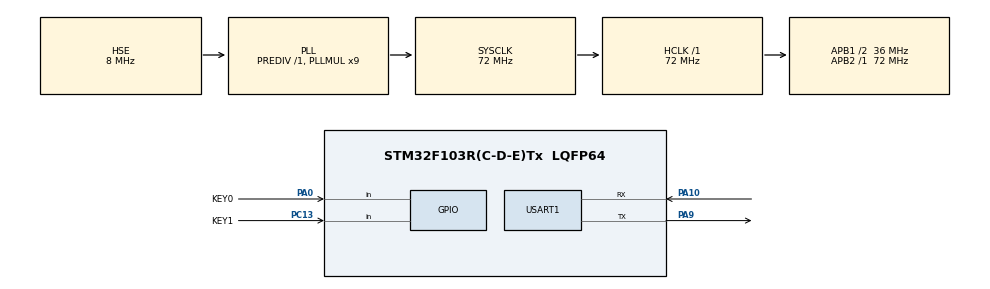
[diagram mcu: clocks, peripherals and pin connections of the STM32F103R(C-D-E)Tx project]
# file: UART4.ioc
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Mcu.Family=STM32F1
Mcu.Name=STM32F103R(C-D-E)Tx
Mcu.Package=LQFP64
NVIC.PriorityGroup=NVIC_PRIORITYGROUP_4
PA0-WKUP.GPIO_Label=KEY0
PA0-WKUP.Signal=GPIO_Input
PA10.Mode=Asynchronous
PA10.Signal=USART1_RX
PA13.Mode=Serial_Wire
PA13.Signal=SYS_JTMS-SWDIO
PA14.Mode=Serial_Wire
PA14.Signal=SYS_JTCK-SWCLK
PA9.Mode=Asynchronous
PA9.Signal=USART1_TX
PC13-TAMPER-RTC.GPIO_Label=KEY1
PC13-TAMPER-RTC.Signal=GPIO_Input
PD0-OSC_IN.Mode=HSE-External-Oscillator
PD0-OSC_IN.Signal=RCC_OSC_IN
PD1-OSC_OUT.Mode=HSE-External-Oscillator
PD1-OSC_OUT.Signal=RCC_OSC_OUT
ProjectManager.HeapSize=0x200
ProjectManager.StackSize=0x400
ProjectManager.TargetToolchain=MDK-ARM V5.32
RCC.AHBFreq_Value=72000000
RCC.APB1CLKDivider=RCC_HCLK_DIV2
RCC.APB1Freq_Value=36000000
RCC.APB1TimFreq_Value=72000000
RCC.APB2Freq_Value=72000000
RCC.APB2TimFreq_Value=72000000
RCC.HCLKFreq_Value=72000000
RCC.PLLMUL=RCC_PLL_MUL9
RCC.PLLSourceVirtual=RCC_PLLSOURCE_HSE
RCC.SYSCLKFreq_VALUE=72000000
RCC.SYSCLKSource=RCC_SYSCLKSOURCE_PLLCLK
RCC.USBFreq_Value=72000000
USART1.VirtualMode=VM_ASYNC
board=custom

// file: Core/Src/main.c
/* USER CODE BEGIN Header */
/**
  ******************************************************************************
  * @file           : main.c
  * @brief          : Main program body
  ******************************************************************************
  * @attention
  *
  * Copyright (c) 2025 STMicroelectronics.
  * All rights reserved.
  *
  * This software is licensed under terms that can be found in the LICENSE file
  * in the root directory of this software component.
  * If no LICENSE file comes with this software, it is provided AS-IS.
  *
  ******************************************************************************
  */
/* USER CODE END Header */
#include "main.h"
#include "usart.h"
#include "gpio.h"

/* USER CODE BEGIN Includes */
#include "string.h"
/* USER CODE END Includes */

void SystemClock_Config(void);

int main(void)
{

  /* MCU Configuration--------------------------------------------------------*/

  /* Reset of all peripherals, Initializes the Flash interface and the Systick. */
  HAL_Init();

  /* Configure the system clock */
  SystemClock_Config();

  /* Initialize all configured peripherals */
  MX_GPIO_Init();
  MX_USART1_UART_Init();
  /* USER CODE BEGIN 2 */
  char *str1 = "Hello,KEY1\n";
  char *str2 = "Hello,KEY2\n";
  int last1 = 0;
  int last2 = 0;
  /* USER CODE END 2 */

  /* Infinite loop */
  /* USER CODE BEGIN WHILE */
  while (1)
  {
	  int now1 = HAL_GPIO_ReadPin(KEY0_GPIO_Port,KEY0_Pin);
	  if(last1 != now1)
	  {
		  last1 = now1;
		  if(now1 == 0)
		  {
			  HAL_UART_Transmit(&huart1,(uint8_t *)str1,strlen(str1),HAL_MAX_DELAY);
		  }
	  }
	  int now2 = HAL_GPIO_ReadPin(KEY1_GPIO_Port,KEY1_Pin);
	  if(last2 != now2)
	  {
		  last2 = now2;
		  if(now2 == 0)
		  {
			  HAL_UART_Transmit(&huart1,(uint8_t *)str2,strlen(str2),HAL_MAX_DELAY);
		  }
	  }
    /* USER CODE END WHILE */

  }
}

void SystemClock_Config(void)
{
  RCC_OscInitTypeDef RCC_OscInitStruct = {0};
  RCC_ClkInitTypeDef RCC_ClkInitStruct = {0};

  /** Initializes the RCC Oscillators according to the specified parameters
  * in the RCC_OscInitTypeDef structure.
  */
  RCC_OscInitStruct.OscillatorType = RCC_OSCILLATORTYPE_HSE;
  RCC_OscInitStruct.HSEState = RCC_HSE_ON;
  RCC_OscInitStruct.HSEPredivValue = RCC_HSE_PREDIV_DIV1;
  RCC_OscInitStruct.HSIState = RCC_HSI_ON;
  RCC_OscInitStruct.PLL.PLLState = RCC_PLL_ON;
  RCC_OscInitStruct.PLL.PLLSource = RCC_PLLSOURCE_HSE;
  RCC_OscInitStruct.PLL.PLLMUL = RCC_PLL_MUL9;
  if (HAL_RCC_OscConfig(&RCC_OscInitStruct) != HAL_OK)
  {
    Error_Handler();
  }

  /** Initializes the CPU, AHB and APB buses clocks
  */
  RCC_ClkInitStruct.ClockType = RCC_CLOCKTYPE_HCLK|RCC_CLOCKTYPE_SYSCLK
                              |RCC_CLOCKTYPE_PCLK1|RCC_CLOCKTYPE_PCLK2;
  RCC_ClkInitStruct.SYSCLKSource = RCC_SYSCLKSOURCE_PLLCLK;
  RCC_ClkInitStruct.AHBCLKDivider = RCC_SYSCLK_DIV1;
  RCC_ClkInitStruct.APB1CLKDivider = RCC_HCLK_DIV2;
  RCC_ClkInitStruct.APB2CLKDivider = RCC_HCLK_DIV1;

  if (HAL_RCC_ClockConfig(&RCC_ClkInitStruct, FLASH_LATENCY_2) != HAL_OK)
  {
    Error_Handler();
  }
}

void Error_Handler(void)
{
  __disable_irq();
  while (1)
  {
  }
}
